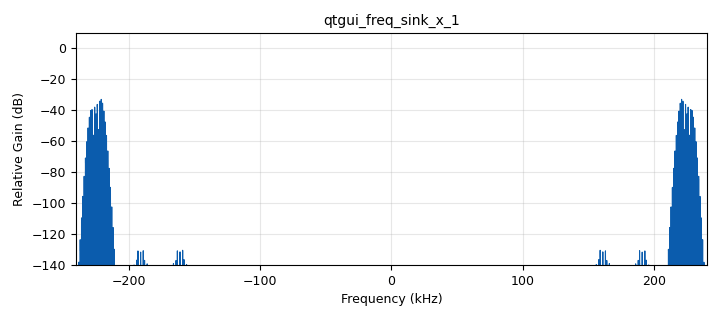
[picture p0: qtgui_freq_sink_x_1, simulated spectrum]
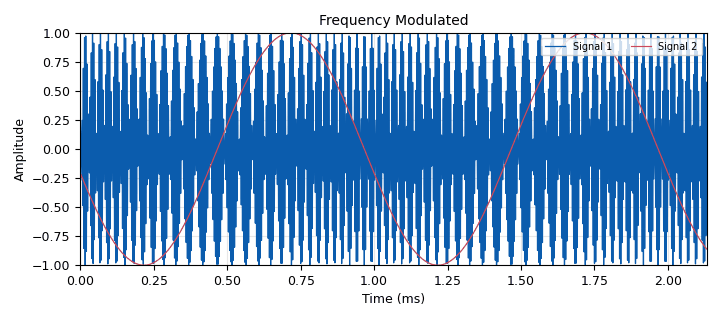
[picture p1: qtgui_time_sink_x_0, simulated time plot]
options:
  parameters:
    author: year2
    generate_options: qt_gui
    id: Sudarshan_3_Lab_9
    output_language: python
    title: Not titled yet
  states: {}

blocks:
- name: Beta
  id: variable_qtgui_range
  parameters:
    label: Frequency_Mudulation_index
    start: '0'
    step: '5'
    stop: '100'
    value: '50'
  states: {}
- name: fc
  id: variable_qtgui_range
  parameters:
    label: fc
    start: '1000'
    step: '1'
    stop: '1000000'
    value: '15000'
  states: {}
- name: phase
  id: variable_qtgui_range
  parameters:
    label: phase_sensitivity
    start: '1'
    step: '4'
    stop: '100'
    value: '5'
  states: {}
- name: samp_rate
  id: variable
  parameters:
    value: '32000'
  states: {}
- name: variable_qtgui_chooser_0
  id: variable_qtgui_chooser
  parameters:
    label: waveform
    label1: square
    num_opts: '2'
    option0: '0'
    option1: '1'
    type: int
    value: '0'
  states: {}
- name: variable_qtgui_range_0_0
  id: variable_qtgui_range
  parameters:
    label: fm
    start: '0'
    step: '200'
    stop: '20000'
    value: '1000'
    widget: eng
  states: {}
- name: varible_qtgui_chooser_0
  id: variable_qtgui_chooser
  parameters:
    label: Modulator_selector
    label0: FM
    label1: FM
    num_opts: '2'
    option0: '0'
    option1: '1'
    type: int
    value: '0'
  states: {}
- name: analog_frequency_modulator_fc_0
  id: analog_frequency_modulator_fc
  parameters:
    sensitivity: '5'
  states: {}
- name: analog_phase_modulator_fc_0
  id: analog_phase_modulator_fc
  parameters:
    sensitivity: '5'
  states: {}
- name: analog_sig_source_x_0
  id: analog_sig_source_x
  parameters:
    amp: '1'
    freq: '15000'
    offset: '0'
    phase: '0'
    samp_rate: samp_rate
    type: complex
    waveform: analog.GR_COS_WAVE
  states: {}
- name: analog_sig_source_x_0_0
  id: analog_sig_source_x
  parameters:
    amp: '1'
    freq: '1000'
    offset: '0'
    phase: '0'
    samp_rate: '480000'
    type: float
    waveform: analog.GR_SIN_WAVE
  states: {}
- name: analog_sig_source_x_0_1
  id: analog_sig_source_x
  parameters:
    amp: '1'
    freq: '1000'
    offset: '0'
    phase: '0'
    samp_rate: '480000'
    type: float
    waveform: analog.GR_SQR_WAVE
  states: {}
- name: blocks_complex_to_real_0
  id: blocks_complex_to_real
  parameters: {}
  states: {}
- name: blocks_multiply_xx_0
  id: blocks_multiply_xx
  parameters:
    type: complex
  states: {}
- name: blocks_selector_0
  id: blocks_selector
  parameters:
    enabled: 'True'
    input_index: '0'
    num_inputs: '2'
    num_outputs: '1'
    output_index: '0'
    type: float
  states: {}
- name: blocks_selector_0_0
  id: blocks_selector
  parameters:
    enabled: 'True'
    input_index: '0'
    num_inputs: '2'
    num_outputs: '1'
    output_index: '0'
    type: complex
  states: {}
- name: blocks_throttle_0
  id: blocks_throttle
  parameters:
    samples_per_second: '480000'
    type: float
  states: {}
- name: qtgui_freq_sink_x_1
  id: qtgui_freq_sink_x
  parameters:
    bw: '480000'
    fc: '0'
    fftsize: '16384'
    type: float
  states: {}
- name: qtgui_time_sink_x_0
  id: qtgui_time_sink_x
  parameters:
    entags: 'False'
    name: '"Frequency Modulated"'
    nconnections: '2'
    size: '1024'
    srate: '480000'
    type: float
  states: {}
- name: rational_resampler_xxx_0
  id: rational_resampler_xxx
  parameters:
    decim: '1'
    interp: '1'
    type: fff
  states: {}
- name: virtual_sink_0
  id: virtual_sink
  parameters:
    stream_id: message_signal
  states: {}
- name: virtual_source_0
  id: virtual_source
  parameters:
    stream_id: message_signal
  states: {}

connections:
- [analog_frequency_modulator_fc_0, '0', blocks_selector_0_0, '1']
- [analog_phase_modulator_fc_0, '0', blocks_selector_0_0, '0']
- [analog_sig_source_x_0, '0', blocks_multiply_xx_0, '0']
- [analog_sig_source_x_0_0, '0', blocks_selector_0, '0']
- [analog_sig_source_x_0_1, '0', blocks_selector_0, '1']
- [blocks_complex_to_real_0, '0', blocks_throttle_0, '0']
- [blocks_complex_to_real_0, '0', qtgui_time_sink_x_0, '0']
- [blocks_multiply_xx_0, '0', blocks_complex_to_real_0, '0']
- [blocks_selector_0, '0', virtual_sink_0, '0']
- [blocks_selector_0_0, '0', blocks_multiply_xx_0, '1']
- [blocks_throttle_0, '0', rational_resampler_xxx_0, '0']
- [rational_resampler_xxx_0, '0', qtgui_freq_sink_x_1, '0']
- [virtual_source_0, '0', analog_frequency_modulator_fc_0, '0']
- [virtual_source_0, '0', analog_phase_modulator_fc_0, '0']
- [virtual_source_0, '0', qtgui_time_sink_x_0, '1']

metadata:
  file_format: 1
  grc_version: 3.10.12.0
